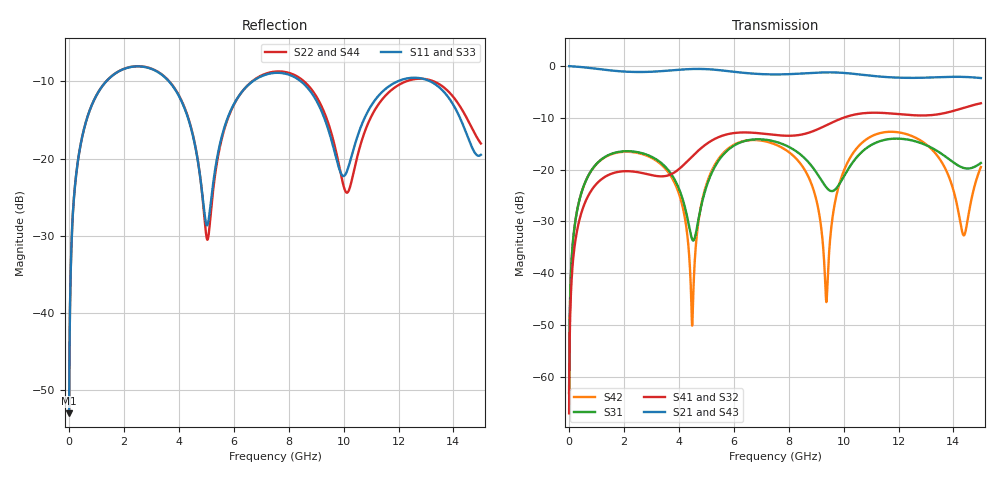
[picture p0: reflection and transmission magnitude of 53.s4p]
! Created with skrf 1.8.0 (http://scikit-rf.org).
# GHz S RI R 50.0
!freq ReS11 ImS11 ReS12 ImS12 ReS13 ImS13
! ReS14 ImS14
! ReS21 ImS21 ReS22 ImS22 ReS23 ImS23
! ReS24 ImS24
! ReS31 ImS31 ReS32 ImS32 ReS33 ImS33
! ReS34 ImS34
! ReS41 ImS41 ReS42 ImS42 ReS43 ImS43
! ReS44 ImS44
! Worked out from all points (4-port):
!   2499 points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, 5 MHz to 15 GHz, reference 50 ohm
!   strongest paths, dB at 5 MHz, 3.476 GHz, 7.19 GHz, 11.1 GHz, 15 GHz:
!     S21: 0.0, -0.9, -1.6, -1.9, -2.3
!     S43: 0.0, -0.9, -1.6, -1.9, -2.3
!     S41: -67.0, -21.3, -13.1, -9.0, -7.2
!     S32: -67.0, -21.3, -13.1, -9.0, -7.2
!     S31: -63.1, -19.3, -14.2, -15.0, -18.7
!     S42: -63.1, -19.6, -14.6, -13.3, -19.5
!   lowest |S11| = -53.0 dB at 5 MHz (marker M1), VSWR 1.00, Z = 50.2 + j0.136 ohm
!   |S11| at or under -10 dB: 3.637 GHz to 6.694 GHz (3.056 GHz wide, 59.2 % of centre); 8.442 GHz to 11.97 GHz (3.533 GHz wide, 34.6 % of centre); 13.15 GHz to end of sweep (the widest 3 of 4)
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0.005  0.00178 0.00136  0.9982 -0.00347  8.95e-05 0.000691  -8.7e-05 -0.000436
       0.9982 -0.00347  0.00178 0.00136  -8.7e-05 -0.000436  8.94e-05 0.000691
       8.95e-05 0.000691  -8.7e-05 -0.000436  0.00178 0.00136  0.9982 -0.00347
       -8.7e-05 -0.000436  8.94e-05 0.000691  0.9982 -0.00347  0.00178 0.00136
1.875782  0.3507 0.1228  0.3356 -0.8247  0.1479 0.022  -0.0919 0.0277
          0.3356 -0.8247  0.3521 0.1212  -0.0918 0.0275  0.1449 0.0293
          0.1479 0.022  -0.0918 0.0275  0.3509 0.1227  0.3356 -0.8247
          -0.0919 0.0277  0.1449 0.0293  0.3356 -0.8247  0.3521 0.1214
4.489371  0.0778 -0.1239  -0.8551 -0.3839  -0.0192 -0.009  -0.0505 0.1246
          -0.8551 -0.3839  0.0725 -0.1291  -0.0518 0.124  -0.0031 -0.000383
          -0.0192 -0.009  -0.0518 0.124  0.0772 -0.1247  -0.855 -0.3839
          -0.0505 0.1246  -0.0031 -0.000383  -0.855 -0.3839  0.0736 -0.1292
7.640684  0.3585 -0.0102  -0.0698 0.8282  0.16 -0.087  0.2078 -0.0536
          -0.0698 0.8282  0.3661 -0.012  0.2077 -0.0503  0.1596 -0.0562
          0.16 -0.087  0.2077 -0.0503  0.3603 -0.0107  -0.069 0.8277
          0.2078 -0.0536  0.1596 -0.0562  -0.069 0.8277  0.3668 -0.0122
9.372655  0.1239 -0.1139  0.7126 0.4988  -0.0546 -0.0396  0.1452 -0.2259
          0.7126 0.4988  0.1213 -0.1378  0.15 -0.2228  -0.00515 -0.00114
          -0.0546 -0.0396  0.15 -0.2228  0.1228 -0.1172  0.7126 0.498
          0.1452 -0.2259  -0.00515 -0.00114  0.7126 0.498  0.1245 -0.1386
10.78574  0.1521 0.1077  0.7834 -0.2377  0.0856 0.1327  -0.1419 -0.3221
          0.7834 -0.2377  0.1174 0.0959  -0.1354 -0.3251  0.1435 0.1284
          0.0856 0.1327  -0.1354 -0.3251  0.149 0.1088  0.783 -0.2392
          -0.1419 -0.3221  0.1435 0.1284  0.783 -0.2392  0.1201 0.0922
15  0.1053 0.00866  -0.727 -0.2436  -0.0862 0.0776  -0.1254 0.4194
    -0.727 -0.2436  0.1174 -0.0434  -0.1376 0.4162  0.0155 0.1049
    -0.0862 0.0776  -0.1376 0.4162  0.1032 0.0064  -0.7278 -0.2398
    -0.1254 0.4194  0.0155 0.1049  -0.7278 -0.2398  0.12 -0.0488
